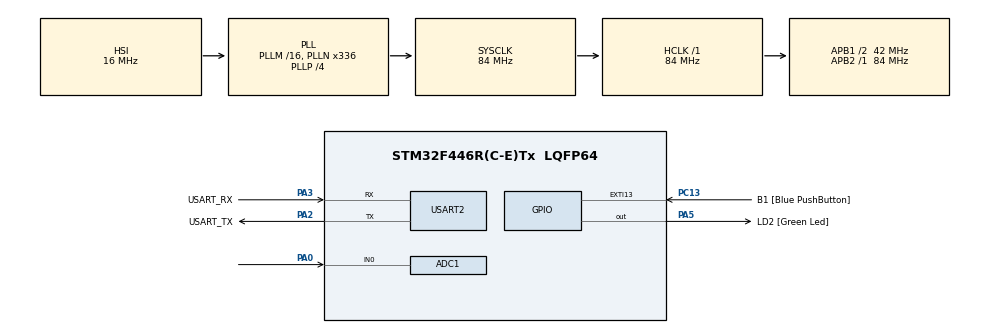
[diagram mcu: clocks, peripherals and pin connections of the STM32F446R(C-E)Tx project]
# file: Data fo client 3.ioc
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ADC1.Channel-0\#ChannelRegularConversion=ADC_CHANNEL_0
ADC1.DMAContinuousRequests=ENABLE
ADC1.EnableAnalogWatchDog=false
ADC1.ExternalTrigConv=ADC_EXTERNALTRIGCONV_T2_TRGO
ADC1.InjNumberOfConversion=0
ADC1.NbrOfConversion=1
ADC1.NbrOfConversionFlag=1
ADC1.Rank-0\#ChannelRegularConversion=1
ADC1.Resolution=ADC_RESOLUTION_10B
ADC1.SamplingTime-0\#ChannelRegularConversion=ADC_SAMPLETIME_15CYCLES
ADC1.ScanConvMode=ENABLE
ADC1.master=1
Dma.ADC1.0.Direction=DMA_PERIPH_TO_MEMORY
Dma.ADC1.0.FIFOMode=DMA_FIFOMODE_DISABLE
Dma.ADC1.0.Instance=DMA2_Stream0
Dma.ADC1.0.MemDataAlignment=DMA_MDATAALIGN_HALFWORD
Dma.ADC1.0.MemInc=DMA_MINC_ENABLE
Dma.ADC1.0.Mode=DMA_NORMAL
Dma.ADC1.0.PeriphDataAlignment=DMA_PDATAALIGN_HALFWORD
Dma.ADC1.0.PeriphInc=DMA_PINC_DISABLE
Dma.ADC1.0.Priority=DMA_PRIORITY_LOW
Dma.Request0=ADC1
Mcu.Family=STM32F4
Mcu.Name=STM32F446R(C-E)Tx
Mcu.Package=LQFP64
NVIC.DMA2_Stream0_IRQn=true\:0\:0\:false\:false\:true\:false\:true
NVIC.PriorityGroup=NVIC_PRIORITYGROUP_0
NVIC.TIM1_UP_TIM10_IRQn=true\:0\:0\:false\:false\:true\:true\:true
NVIC.USART2_IRQn=true\:0\:0\:false\:false\:true\:true\:true
PA0-WKUP.Signal=ADCx_IN0
PA13.GPIO_Label=TMS
PA13.Mode=Serial_Wire
PA13.Signal=SYS_JTMS-SWDIO
PA14.GPIO_Label=TCK
PA14.Mode=Serial_Wire
PA14.Signal=SYS_JTCK-SWCLK
PA2.GPIO_Label=USART_TX
PA2.Mode=Asynchronous
PA2.Signal=USART2_TX
PA3.GPIO_Label=USART_RX
PA3.Mode=Asynchronous
PA3.Signal=USART2_RX
PA5.GPIO_Label=LD2 [Green Led]
PA5.Signal=GPIO_Output
PB3.GPIO_Label=SWO
PB3.Signal=SYS_JTDO-SWO
PC13.GPIO_Label=B1 [Blue PushButton]
PC13.GPIO_ModeDefaultEXTI=GPIO_MODE_IT_FALLING
PC13.Signal=GPXTI13
PC14-OSC32_IN.Mode=LSE-External-Oscillator
PC14-OSC32_IN.Signal=RCC_OSC32_IN
PC15-OSC32_OUT.Mode=LSE-External-Oscillator
PC15-OSC32_OUT.Signal=RCC_OSC32_OUT
PH0-OSC_IN.Mode=HSE-External-Oscillator
PH0-OSC_IN.Signal=RCC_OSC_IN
PH1-OSC_OUT.Mode=HSE-External-Oscillator
PH1-OSC_OUT.Signal=RCC_OSC_OUT
ProjectManager.HeapSize=0x200
ProjectManager.StackSize=0x400
ProjectManager.TargetToolchain=TrueSTUDIO
RCC.48MHZClocksFreq_Value=84000000
RCC.AHBFreq_Value=84000000
RCC.APB1CLKDivider=RCC_HCLK_DIV2
RCC.APB1Freq_Value=42000000
RCC.APB1TimFreq_Value=84000000
RCC.APB2Freq_Value=84000000
RCC.APB2TimFreq_Value=84000000
RCC.CortexFreq_Value=84000000
RCC.FLatency-AdvancedSettings=FLASH_LATENCY_2
RCC.HCLKFreq_Value=84000000
RCC.HSE_VALUE=8000000
RCC.HSI_VALUE=16000000
RCC.PLLN=336
RCC.PLLP=RCC_PLLP_DIV4
RCC.SYSCLKFreq_VALUE=84000000
RCC.SYSCLKSource=RCC_SYSCLKSOURCE_PLLCLK
RCC.USBFreq_Value=168000000
RCC.VCOOutputFreq_Value=336000000
SH.ADCx_IN0.0=ADC1_IN0,IN0
TIM10.Period=3999
TIM10.Prescaler=20999
TIM2.Period=399
TIM2.Prescaler=2999
TIM2.TIM_MasterOutputTrigger=TIM_TRGO_UPDATE
USART2.VirtualMode=VM_ASYNC
VP_TIM10_VS_ClockSourceINT.Mode=Enable_Timer
VP_TIM2_VS_ClockSourceINT.Mode=Internal
board=NUCLEO-F446RE

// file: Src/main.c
//Trabalho Winsock -- 2019
//4411 - Equipe Alpha
//Ana Paula Schneider, Eduarda Basotti, Fernando Caletti, Kauê Portella, Gustavo Wingert e Henrique Schumacher.
//Server

/* USER CODE BEGIN Header */
/**
  ******************************************************************************
  * @file           : main.c
  * @brief          : Water tank level simulator
  ******************************************************************************
  * @attention
  *
  * <h2><center>&copy; Copyright (c) 2019 STMicroelectronics.
  * All rights reserved.</center></h2>
  *
  * This software component is licensed by ST under BSD 3-Clause license,
  * the "License"; You may not use this file except in compliance with the
  * License. You may obtain a copy of the License at:
  *                        opensource.org/licenses/BSD-3-Clause
  *
  ******************************************************************************
  */
/* USER CODE END Header */

#include "main.h"
#include "adc.h"
#include "dma.h"
#include "tim.h"
#include "usart.h"
#include "gpio.h"

/* USER CODE BEGIN Includes */
#include "string.h"

/* USER CODE END Includes */

/* USER CODE BEGIN PV */
volatile uint16_t water_level;			/*!<Used to simulate a value for the water tank level*/
uint16_t ValueCH1; 				/*!<Takes the ADC channel 1 value and use it to set the water_level*/
int amount_of_water=0;			/*!<Used to convert the value of ADC channel 1 to the amount of water we have on the water tank*/
int timer=0;					/*!Counter that makes the program wait 15 seconds before transmit the data*/
uint8_t aux[50];
int string_size;
int dado=-1;
volatile uint8_t rxBuff = 0;
volatile uint8_t startFlag = 0;

/* USER CODE END PV */

void SystemClock_Config(void);

int main(void)
{

  /* MCU Configuration--------------------------------------------------------*/

  /* Reset of all peripherals, Initializes the Flash interface and the Systick. */
  HAL_Init();

  /* Configure the system clock */
  SystemClock_Config();

  /* Initialize all configured peripherals */
  MX_GPIO_Init();
  MX_DMA_Init();
  MX_ADC1_Init();
  MX_TIM2_Init();
  MX_TIM10_Init();
  MX_USART2_UART_Init();
  /* USER CODE BEGIN 2 */
  HAL_TIM_Base_Start(&htim2);
  HAL_TIM_Base_Start_IT(&htim10);

  HAL_ADC_Start_DMA(&hadc1, &water_level, 1);
  HAL_UART_Receive_IT(&huart2, &rxBuff, sizeof(rxBuff));

  HAL_UART_Init(&huart2);

  /* USER CODE END 2 */

  /* Infinite loop */
  while (1)
  {

  }
}

void SystemClock_Config(void)
{
  RCC_OscInitTypeDef RCC_OscInitStruct = {0};
  RCC_ClkInitTypeDef RCC_ClkInitStruct = {0};

  /** Configure the main internal regulator output voltage
  */
  __HAL_RCC_PWR_CLK_ENABLE();
  __HAL_PWR_VOLTAGESCALING_CONFIG(PWR_REGULATOR_VOLTAGE_SCALE3);
  /** Initializes the CPU, AHB and APB busses clocks
  */
  RCC_OscInitStruct.OscillatorType = RCC_OSCILLATORTYPE_HSI;
  RCC_OscInitStruct.HSIState = RCC_HSI_ON;
  RCC_OscInitStruct.HSICalibrationValue = RCC_HSICALIBRATION_DEFAULT;
  RCC_OscInitStruct.PLL.PLLState = RCC_PLL_ON;
  RCC_OscInitStruct.PLL.PLLSource = RCC_PLLSOURCE_HSI;
  RCC_OscInitStruct.PLL.PLLM = 16;
  RCC_OscInitStruct.PLL.PLLN = 336;
  RCC_OscInitStruct.PLL.PLLP = RCC_PLLP_DIV4;
  RCC_OscInitStruct.PLL.PLLQ = 2;
  RCC_OscInitStruct.PLL.PLLR = 2;
  if (HAL_RCC_OscConfig(&RCC_OscInitStruct) != HAL_OK)
  {
    Error_Handler();
  }
  /** Initializes the CPU, AHB and APB busses clocks
  */
  RCC_ClkInitStruct.ClockType = RCC_CLOCKTYPE_HCLK|RCC_CLOCKTYPE_SYSCLK
                              |RCC_CLOCKTYPE_PCLK1|RCC_CLOCKTYPE_PCLK2;
  RCC_ClkInitStruct.SYSCLKSource = RCC_SYSCLKSOURCE_PLLCLK;
  RCC_ClkInitStruct.AHBCLKDivider = RCC_SYSCLK_DIV1;
  RCC_ClkInitStruct.APB1CLKDivider = RCC_HCLK_DIV2;
  RCC_ClkInitStruct.APB2CLKDivider = RCC_HCLK_DIV1;

  if (HAL_RCC_ClockConfig(&RCC_ClkInitStruct, FLASH_LATENCY_2) != HAL_OK)
  {
    Error_Handler();
  }
}

/* USER CODE BEGIN 4 */
/*! @brief Recive the ADC datas through the DMA.
 *
 * @param 'hadc' Witch ADC have to execute the command.
 *
 * @brief Give a value from ADC Channel 1 to a variable so that the value can be processed:
 * @code
 * ValueCH1=water_level[0];
 * @endcode
 *
 * @brief Make the conversion from the ADC value to the amount of water in the water tank:
 * @code
 * amount_of_water=((45*water_level)/1023);
 * @endcode
 *
 * @brief The function restart the interruption on ADC so it can take new values from ADC:
 * @code
 * HAL_ADC_Start_DMA(&hadc1, amostras, 2);
 * @endcode
 * */
void HAL_ADC_ConvCpltCallback(ADC_HandleTypeDef* hadc)
{
	ValueCH1=water_level;
	amount_of_water=(((45*ValueCH1)/1023)*1000);

	HAL_ADC_Start_DMA(&hadc1, &water_level, 1);
}

/*! @brief Recive the ADC datas through the DMA.
 *
 * @param 'htim' Witch timer have to execute the command.
 *
 * @brief The function clear the flag that indicates that the timer ESTOUROU:
 * @code
 * __HAL_TIM_CLEAR_FLAG(&htim10, TIM_FLAG_UPDATE);
 * @endcode
 * */
void HAL_TIM_PeriodElapsedCallback(TIM_HandleTypeDef *htim)
{
	if (htim->Instance==TIM10)
	{
		timer++;
		if (timer==15)
		{
			//if(startFlag == 1)
			//{
				sprintf((char*)aux, "\n\rClient 3: Quantidade de agua: %iL", amount_of_water);
				HAL_UART_Transmit(&huart2, (char*) aux, strlen((char*) aux), 10);
				timer=0;
			//}
		}
		__HAL_TIM_CLEAR_FLAG(&htim10, TIM_FLAG_UPDATE);
	}
}
void HAL_UART_RxCpltCallback(UART_HandleTypeDef *huart)
{
	if(rxBuff == 'Y')
	{
		startFlag = 1;
	}
	HAL_UART_Receive_IT(&huart2, &rxBuff, sizeof(rxBuff));
}

/* USER CODE END 4 */

void Error_Handler(void)
{
}

/************************ (C) COPYRIGHT STMicroelectronics *****END OF FILE****/
